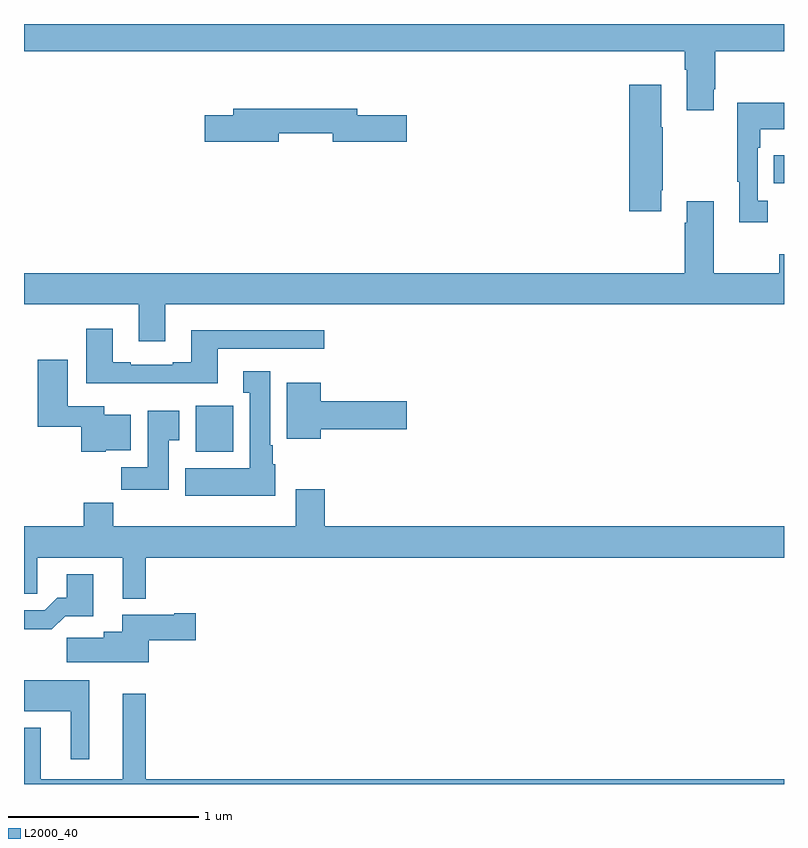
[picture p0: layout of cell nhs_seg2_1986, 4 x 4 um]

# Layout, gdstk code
import gdstk
lib = gdstk.Library(unit=1e-6, precision=1e-09)
def R(c, l, rs):  # rectangles x0, y0, x1, y1
    for r in rs: c.add(gdstk.rectangle(r[:2], r[2:], *l))
def P(c, l, *ps):  # polygons
    for p in ps: c.add(gdstk.Polygon(p, *l))
L2000_40 = (2000, 40)

nhs_seg2_1986 = lib.new_cell('nhs_seg2_1986')
R(nhs_seg2_1986, L2000_40, [(215.903,625.55,216.1,625.792), (218.947,626.962,219,627.109)])
P(nhs_seg2_1986, L2000_40, [(218.629,627.457),(218.637,627.457),(218.637,627.656),(219,627.656),(219,627.8),(215,627.8),(215,627.656),(218.477,627.656),(218.477,627.56),(218.489,627.56),(218.489,627.345),(218.629,627.345)],
  [(218.353,626.926),(218.361,626.926),(218.361,627.257),(218.353,627.257),(218.353,627.481),(218.186,627.481),(218.186,626.814),(218.353,626.814)],
  [(218.914,626.87),(218.862,626.87),(218.862,627.149),(218.875,627.149),(218.875,627.245),(219,627.245),(219,627.385),(218.754,627.385),(218.754,626.969),(218.765,626.969),(218.765,626.757),(218.914,626.757)],
  [(216.34,627.226),(216.626,627.226),(216.626,627.179),(217.015,627.179),(217.015,627.321),(216.754,627.321),(216.754,627.355),(216.101,627.355),(216.101,627.321),(215.952,627.321),(215.952,627.179),(216.34,627.179)],
  [(215.743,626.324),(219,626.324),(219,626.587),(218.974,626.587),(218.974,626.488),(218.629,626.488),(218.629,626.866),(218.489,626.866),(218.489,626.753),(218.477,626.753),(218.477,626.488),(215,626.488),(215,626.324),(215.603,626.324),(215.603,626.13),(215.743,626.13)],
  [(216.019,626.091),(216.58,626.091),(216.58,626.188),(215.879,626.188),(215.879,626.02),(215.783,626.02),(215.783,626.007),(215.563,626.007),(215.563,626.02),(215.467,626.02),(215.467,626.197),(215.327,626.197),(215.327,625.91),(216.019,625.91)],
  [(215.43,625.556),(215.563,625.556),(215.563,625.744),(215.422,625.744),(215.422,625.789),(215.23,625.789),(215.23,626.032),(215.072,626.032),(215.072,625.679),(215.3,625.679),(215.3,625.55),(215.43,625.55)],
  [(216.322,625.482),(216.31,625.482),(216.31,625.582),(216.295,625.582),(216.295,625.972),(216.155,625.972),(216.155,625.859),(216.188,625.859),(216.188,625.462),(215.849,625.462),(215.849,625.316),(216.322,625.316)],
  [(216.562,625.667),(217.015,625.667),(217.015,625.814),(216.562,625.814),(216.562,625.912),(216.383,625.912),(216.383,625.616),(216.562,625.616)],
  [(215.761,625.609),(215.818,625.609),(215.818,625.765),(215.651,625.765),(215.651,625.468),(215.512,625.468),(215.512,625.35),(215.761,625.35)],
  [(215.641,624.992),(219,624.992),(219,625.156),(216.584,625.156),(216.584,625.351),(216.431,625.351),(216.431,625.156),(215.471,625.156),(215.471,625.28),(215.315,625.28),(215.315,625.156),(215,625.156),(215,624.802),(215.07,624.802),(215.07,624.992),(215.519,624.992),(215.519,624.776),(215.641,624.776)],
  [(215.216,624.683),(215.365,624.683),(215.365,624.904),(215.225,624.904),(215.225,624.781),(215.176,624.781),(215.109,624.714),(215,624.714),(215,624.614),(215.147,624.614)],
  [(215.656,624.557),(215.905,624.557),(215.905,624.699),(215.792,624.699),(215.792,624.691),(215.516,624.691),(215.516,624.601),(215.42,624.601),(215.42,624.569),(215.226,624.569),(215.226,624.44),(215.656,624.44)],
  [(215.344,624.346),(215,624.346),(215,624.182),(215.246,624.182),(215.246,623.931),(215.344,623.931)],
  [(219,623.824),(215.641,623.824),(215.641,624.274),(215.519,624.274),(215.519,623.824),(215.089,623.824),(215.089,624.097),(215,624.097),(215,623.8),(219,623.8)])

lib.write_gds('nhs_seg2_1986.gds')
